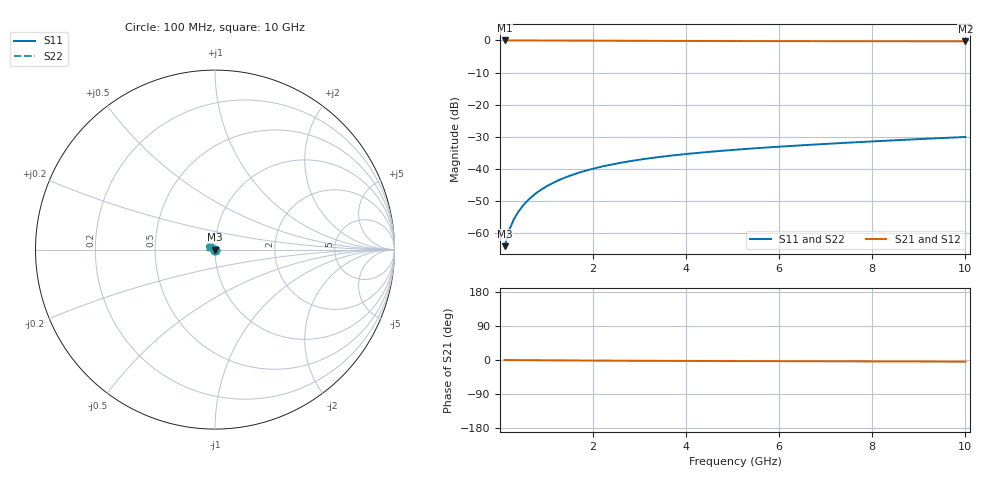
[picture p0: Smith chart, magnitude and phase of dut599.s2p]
! Touchstone file exported from HFSS 2024.1.0
!  File:  C:/UserFiles/LocalFiles/RDL_TSV_Batchsim/temp_TSV1_599_1779711180.aedt
!  Generated:  08:21:22 PM May 25, 2026
!  Design:  TSV1
!  Project:  temp_TSV1_599_1779711180
!  Setup:  Setup1
!  Solution:  Sweep
! Variables:
!  dtsv = 6.14um
!  hbump = 3um
!  htsv = 62.1um
!  lrdl = 252.1521522um
!  p = 40
!  p1 = 48.23um
!  t = 500um
!  trdl = 3um
!  wrdl = 24.89489489um
# GHz S MA R 50.000000
! Terminal data exported
! Port[1] = TSV22_T1
! Port[2] = TSV22_T2
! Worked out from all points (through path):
!   100 points, 100 MHz to 10 GHz, reference 50 ohm
!   highest |S21| = 0.00 dB at 100 MHz (marker M1); lowest = -0.3 dB at 10 GHz (marker M2)
!   lowest |S11| = -64.0 dB at 100 MHz (marker M3), VSWR 1.00, Z = 50 - j0.0553 ohm
!   |S11| at or under -10 dB: start of sweep to end of sweep
!   |S22| runs from -64.0 to -30.0 dB; largest |S21 - S12| = 1.3e-14
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0.1  0.0006299 -61.4  0.9997 -0.1  0.9997 -0.1  0.0006299 -61.4
! Gamma 0 0 0 0
! Port Impedance 50 0 50 0
0.2  0.001129 -78.0  0.9996 -0.2  0.9996 -0.2  0.001129 -78.0
0.3  0.001655 -85.6  0.9995 -0.3  0.9995 -0.3  0.001655 -85.6
0.4  0.002189 -90.7  0.9993 -0.3  0.9993 -0.3  0.002189 -90.7
0.5  0.002726 -94.5  0.9991 -0.4  0.9991 -0.4  0.002726 -94.5
0.6  0.003262 -97.8  0.9989 -0.5  0.9989 -0.5  0.003262 -97.8
0.7  0.003795 -100.7  0.9986 -0.6  0.9986 -0.6  0.003795 -100.7
0.8  0.004324 -103.4  0.9983 -0.7  0.9983 -0.7  0.004324 -103.4
0.9  0.004848 -105.9  0.9979 -0.7  0.9979 -0.7  0.004848 -105.9
1.1  0.005877 -110.7  0.9972 -0.9  0.9972 -0.9  0.005877 -110.7
1.4  0.007363 -117.3  0.9958 -1.1  0.9958 -1.1  0.007363 -117.3
1.6  0.008311 -121.4  0.9949 -1.3  0.9949 -1.3  0.008311 -121.4
1.8  0.009223 -125.4  0.9939 -1.4  0.9939 -1.4  0.009223 -125.4
2.1  0.01052 -131.1  0.9923 -1.6  0.9923 -1.6  0.01052 -131.1
2.5  0.01213 -138.3  0.9901 -1.8  0.9901 -1.8  0.01213 -138.3
2.9  0.0136 -144.9  0.9879 -2.0  0.9879 -2.0  0.0136 -144.9
3.4  0.01528 -152.6  0.9854 -2.2  0.9854 -2.2  0.01528 -152.6
4.2  0.01766 -163.4  0.9818 -2.5  0.9818 -2.5  0.01766 -163.4
5.1  0.02004 -173.9  0.9785 -2.8  0.9785 -2.8  0.02004 -173.9
6.7  0.02387 171.1  0.9743 -3.3  0.9743 -3.3  0.02387 171.1
8.4  0.02777 158.8  0.9712 -3.8  0.9712 -3.8  0.02777 158.8
10  0.0315 149.6  0.9692 -4.3  0.9692 -4.3  0.0315 149.6
